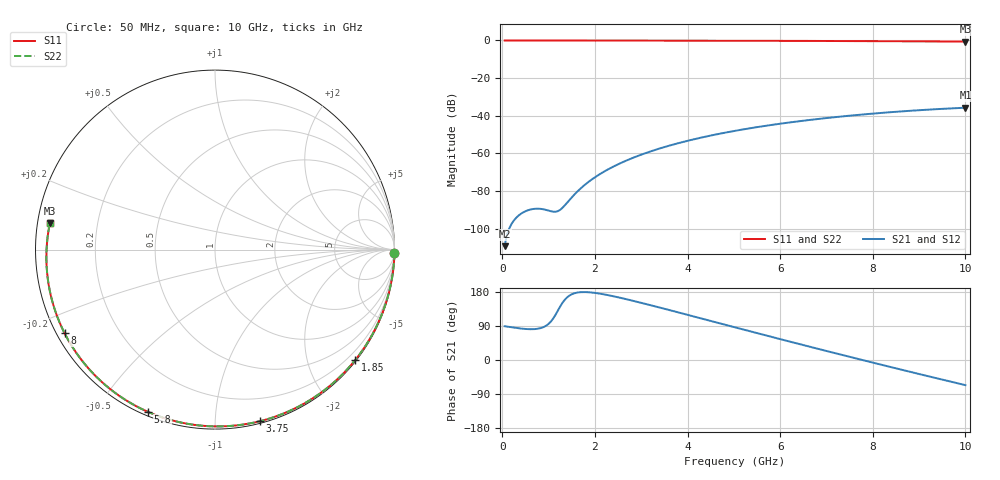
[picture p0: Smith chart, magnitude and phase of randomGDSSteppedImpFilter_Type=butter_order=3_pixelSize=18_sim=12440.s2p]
! freq	dB(S11)	phase(S11)	dB(S12)	phase(S12)
!  dB(S21)	phase(S21)	dB(S22)	phase(S22)
!S-par simulation data
#  GHz  S  DB  R 50
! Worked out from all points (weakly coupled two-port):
!   200 points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, 50 MHz to 10 GHz, reference 50 ohm
!   highest |S21| = -35.77 dB at 10 GHz (marker M1); lowest = -109.4 dB at 50 MHz (marker M2)
!   lowest |S11| = -0.6 dB at 10 GHz (marker M3), VSWR 28.26, Z = 1.78 + j3.93 ohm
!   |S11| at or under -10 dB: nowhere
!   |S22| runs from -0.6 to 0.0 dB; largest |S21 - S12| = 0
!   S11 on the Smith chart (normalised r, x): 50 MHz: open; 1.85 GHz: 0.03, -2.88; 3.75 GHz: 0.02, -1.30; 5.8 GHz: 0.02, -0.67; 8 GHz: 0.02, -0.26; 10 GHz: 0.04, +0.08
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0.05  -0.00 -1.1  -109.39 89.1  -109.39 89.1  -0.00 -1.1
0.4  -0.01 -8.4  -92.19 83.1  -92.19 83.1  -0.01 -8.4
0.8  -0.02 -16.8  -89.49 83.3  -89.49 83.3  -0.02 -16.8
1.6  -0.04 -33.2  -80.84 177.4  -80.84 177.4  -0.04 -33.2
1.65  -0.04 -34.2  -79.64 178.5  -79.64 178.5  -0.04 -34.2
1.75  -0.05 -36.3  -77.42 179.3  -77.42 179.3  -0.05 -36.3
1.85  -0.05 -38.3  -75.43 178.9  -75.43 178.9  -0.05 -38.3
2.15  -0.06 -44.3  -70.42 174.2  -70.42 174.2  -0.06 -44.3
2.5  -0.07 -51.3  -65.85 165.5  -65.85 165.5  -0.07 -51.2
2.9  -0.08 -59.1  -61.65 153.9  -61.65 153.9  -0.08 -59.1
3.4  -0.09 -68.7  -57.43 138.4  -57.43 138.4  -0.09 -68.7
3.75  -0.10 -75.3  -54.95 127.3  -54.95 127.3  -0.10 -75.3
4.4  -0.13 -87.3  -51.09 106.3  -51.09 106.3  -0.13 -87.3
5.05  -0.15 -99.1  -47.94 85.4  -47.94 85.4  -0.15 -99.1
5.8  -0.19 -112.4  -44.97 61.4  -44.97 61.4  -0.19 -112.4
6.7  -0.25 -128.1  -42.08 33.1  -42.08 33.1  -0.25 -128.1
7.35  -0.30 -139.5  -40.36 13.0  -40.36 13.0  -0.30 -139.5
8  -0.37 -151.0  -38.90 -6.9  -38.90 -6.9  -0.37 -151.0
8.35  -0.40 -157.3  -38.20 -17.5  -38.20 -17.5  -0.40 -157.3
9.2  -0.50 -173.1  -36.78 -42.9  -36.78 -42.9  -0.50 -173.2
9.6  -0.56 179.1  -36.24 -54.7  -36.24 -54.7  -0.56 179.0
10  -0.62 171.0  -35.77 -66.3  -35.77 -66.3  -0.61 170.9
